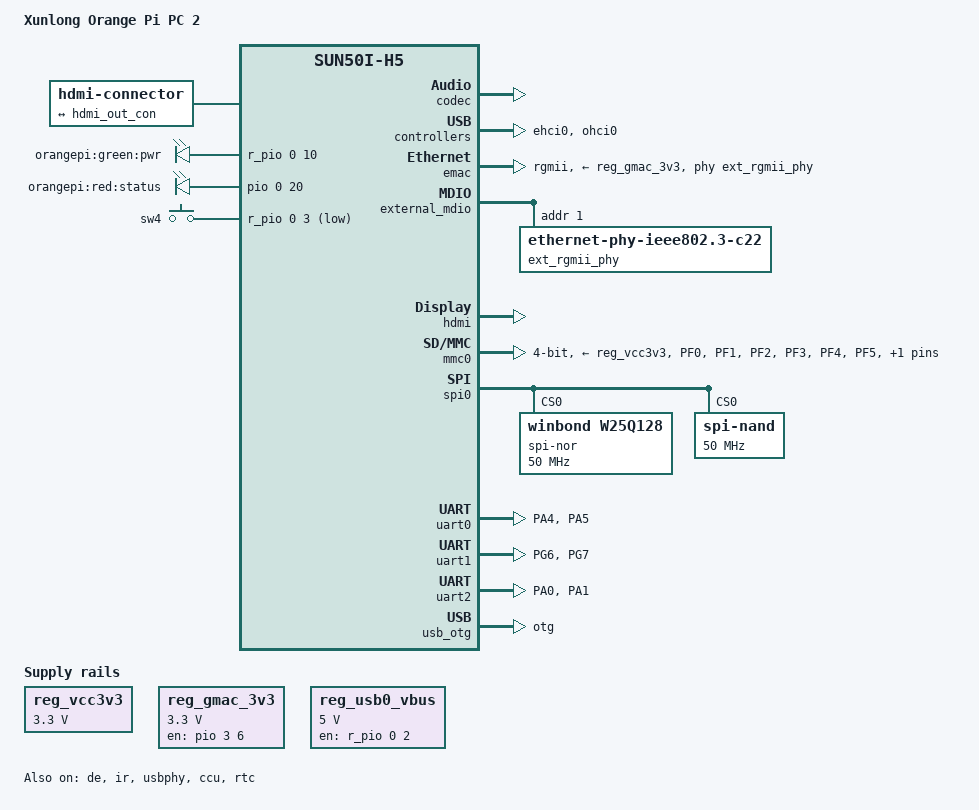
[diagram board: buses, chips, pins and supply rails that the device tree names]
// SPDX-License-Identifier: (GPL-2.0+ OR MIT)
// Copyright (C) 2016 ARM Ltd.

/dts-v1/;
#include "sun50i-h5.dtsi"

#include <dt-bindings/gpio/gpio.h>
#include <dt-bindings/input/input.h>
#include <dt-bindings/pinctrl/sun4i-a10.h>

/ {
	model = "Xunlong Orange Pi PC 2";
	compatible = "xunlong,orangepi-pc2", "allwinner,sun50i-h5";

	reg_vcc3v3: vcc3v3 {
		compatible = "regulator-fixed";
		regulator-name = "vcc3v3";
		regulator-min-microvolt = <3300000>;
		regulator-max-microvolt = <3300000>;
	};

	aliases {
		serial0 = &uart0;
		serial1 = &uart1;
		serial2 = &uart2;
		ethernet0 = &emac;
		spi0 = &spi0;
	};

	chosen {
		stdout-path = "serial0:115200n8";
	};

	connector {
		compatible = "hdmi-connector";
		type = "a";

		port {
			hdmi_con_in: endpoint {
				remote-endpoint = <&hdmi_out_con>;
			};
		};
	};

	leds {
		compatible = "gpio-leds";

		pwr {
			label = "orangepi:green:pwr";
			gpios = <&r_pio 0 10 GPIO_ACTIVE_HIGH>;
			default-state = "on";
		};

		status {
			label = "orangepi:red:status";
			gpios = <&pio 0 20 GPIO_ACTIVE_HIGH>;
		};
	};

	r-gpio-keys {
		compatible = "gpio-keys";

		sw4 {
			label = "sw4";
			linux,code = <BTN_0>;
			gpios = <&r_pio 0 3 GPIO_ACTIVE_LOW>;
		};
	};

	reg_gmac_3v3: gmac-3v3 {
		compatible = "regulator-fixed";
		regulator-name = "gmac-3v3";
		regulator-min-microvolt = <3300000>;
		regulator-max-microvolt = <3300000>;
		startup-delay-us = <100000>;
		enable-active-high;
		gpio = <&pio 3 6 GPIO_ACTIVE_HIGH>;
	};

	reg_usb0_vbus: usb0-vbus {
		compatible = "regulator-fixed";
		regulator-name = "usb0-vbus";
		regulator-min-microvolt = <5000000>;
		regulator-max-microvolt = <5000000>;
		enable-active-high;
		gpio = <&r_pio 0 2 GPIO_ACTIVE_HIGH>; /* PL2 */
		status = "okay";
	};
};

&codec {
	allwinner,audio-routing =
		"Line Out", "LINEOUT",
		"MIC1", "Mic",
		"Mic",  "MBIAS";
	status = "okay";
};

&de {
	status = "okay";
};

&ehci0 {
	status = "okay";
};

&ehci1 {
	status = "disabled";
};

&ehci2 {
	status = "disabled";
};

&ehci3 {
	status = "disabled";
};

&emac {
	pinctrl-names = "default";
	pinctrl-0 = <&emac_rgmii_pins>;
	phy-supply = <&reg_gmac_3v3>;
	phy-handle = <&ext_rgmii_phy>;
	phy-mode = "rgmii";
	status = "okay";
};

&external_mdio {
	ext_rgmii_phy: ethernet-phy@1 {
		compatible = "ethernet-phy-ieee802.3-c22";
		reg = <1>;
	};
};

&hdmi {
	status = "okay";
};

&hdmi_out {
	hdmi_out_con: endpoint {
		remote-endpoint = <&hdmi_con_in>;
	};
};

&ir {
	pinctrl-names = "default";
	pinctrl-0 = <&r_ir_rx_pin>;
	status = "okay";
};

&mmc0 {
	compatible = "allwinner,sun50i-h5-mmc", "allwinner,sun50i-a64-mmc";
	pinctrl-0 = <&mmc0_pins_a>;
	pinctrl-names = "default";
	bus-width = <4>;
	// broken-cd;
	cd-gpios = <&pio 5 6 GPIO_ACTIVE_LOW>; /* PF6 */
	vmmc-supply = <&reg_vcc3v3>;
	status = "okay";
};

&mmc1 {
	status = "disabled";
};

&ohci0 {
	status = "okay";
};

&ohci1 {
	status = "disabled";
};

&ohci2 {
	status = "disabled";
};

&ohci3 {
	status = "disabled";
};

&spi0  {
	status = "okay";

	spi-nor@0 {
		#address-cells = <1>;
		#size-cells = <1>;
		reg = <0>;
		compatible = "winbond,w25q128", "jedec,spi-nor";
		spi-max-frequency = <50000000>;
	};

	spi-nand@1 {
		#address-cells = <1>;
		#size-cells = <1>;
		reg = <0>;
		compatible = "spi-nand";
		spi-max-frequency = <50000000>;
	};
};

&uart0 {
	pinctrl-names = "default";
	pinctrl-0 = <&uart0_pins_pa>;
	status = "okay";
};

&uart1 {
	pinctrl-names = "default";
	pinctrl-0 = <&uart1_pins_pa>;
	status = "okay";
};

&uart2 {
	pinctrl-names = "default";
	pinctrl-0 = <&uart2_pins_pa>;
	status = "okay";
};

&pio {
	uart0_pins_pa: uart0-pa-pins {
		pins = "PA4", "PA5";
		function = "uart0";
		bias-pull-up;
	};

	uart1_pins_pa: uart1-pins {
		pins = "PG6", "PG7";
		function = "uart1";
		bias-pull-up;
	};

	uart2_pins_pa: uart2-pins {
		pins = "PA0", "PA1";
		function = "uart2";
		bias-pull-up;
	};

	mmc0_pins_a: mmc0-pins {
		pins = "PF0", "PF1", "PF2", "PF3",
				"PF4", "PF5";
		function = "mmc0";
		drive-strength = <30>;
		bias-pull-up;
	};
};

&usb_otg {
	dr_mode = "otg";
	status = "okay";
};

&usbphy {
	/* USB Type-A ports' VBUS is always on */
	usb0_id_det-gpios = <&pio 6 12 GPIO_ACTIVE_HIGH>; /* PG12 */
	usb0_vbus-supply = <&reg_usb0_vbus>;
	status = "okay";
};

&ccu {
	status = "okay";
};

&rtc {
	status = "okay";
};
